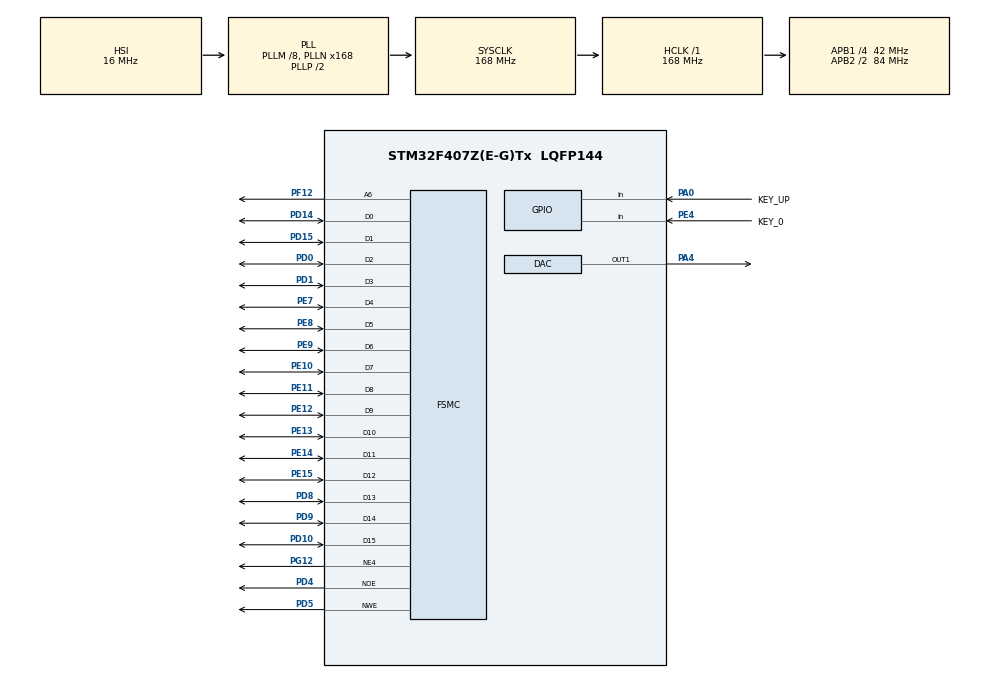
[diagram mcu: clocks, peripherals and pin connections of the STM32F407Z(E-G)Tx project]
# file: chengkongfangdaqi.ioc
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DAC.DAC_OutputBuffer=DAC_OUTPUTBUFFER_DISABLE
FSMC.AddressSetupTime1=9
FSMC.DataSetupTime1=9
Mcu.Family=STM32F4
Mcu.Name=STM32F407Z(E-G)Tx
Mcu.Package=LQFP144
NVIC.PriorityGroup=NVIC_PRIORITYGROUP_4
PA0-WKUP.GPIO_Label=KEY_UP
PA0-WKUP.GPIO_PuPd=GPIO_PULLDOWN
PA0-WKUP.Signal=GPIO_Input
PA13.Mode=Serial_Wire
PA13.Signal=SYS_JTMS-SWDIO
PA14.Mode=Serial_Wire
PA14.Signal=SYS_JTCK-SWCLK
PA4.Signal=COMP_DAC1_group
PD0.Signal=FSMC_D2_DA2
PD1.Signal=FSMC_D3_DA3
PD10.Signal=FSMC_D15_DA15
PD14.Signal=FSMC_D0_DA0
PD15.Signal=FSMC_D1_DA1
PD4.Signal=FSMC_NOE
PD5.Signal=FSMC_NWE
PD8.Signal=FSMC_D13_DA13
PD9.Signal=FSMC_D14_DA14
PE10.Signal=FSMC_D7_DA7
PE11.Signal=FSMC_D8_DA8
PE12.Signal=FSMC_D9_DA9
PE13.Signal=FSMC_D10_DA10
PE14.Signal=FSMC_D11_DA11
PE15.Signal=FSMC_D12_DA12
PE4.GPIO_Label=KEY_0
PE4.GPIO_PuPd=GPIO_PULLDOWN
PE4.Signal=GPIO_Input
PE7.Signal=FSMC_D4_DA4
PE8.Signal=FSMC_D5_DA5
PE9.Signal=FSMC_D6_DA6
PF12.Signal=FSMC_A6
PG12.Mode=NorPsramChipSelect4_1
PG12.Signal=FSMC_NE4
ProjectManager.HeapSize=0x200
ProjectManager.StackSize=0x400
ProjectManager.TargetToolchain=CMake
RCC.48MHZClocksFreq_Value=84000000
RCC.AHBFreq_Value=168000000
RCC.APB1CLKDivider=RCC_HCLK_DIV4
RCC.APB1Freq_Value=42000000
RCC.APB1TimFreq_Value=84000000
RCC.APB2CLKDivider=RCC_HCLK_DIV2
RCC.APB2Freq_Value=84000000
RCC.APB2TimFreq_Value=168000000
RCC.CortexFreq_Value=168000000
RCC.HCLKFreq_Value=168000000
RCC.HSE_VALUE=25000000
RCC.HSI_VALUE=16000000
RCC.LSE_VALUE=32768
RCC.PLLM=8
RCC.PLLN=168
RCC.SYSCLKFreq_VALUE=168000000
RCC.SYSCLKSource=RCC_SYSCLKSOURCE_PLLCLK
RCC.VCOOutputFreq_Value=336000000
SH.COMP_DAC1_group.0=DAC_OUT1,DAC_OUT1
SH.FSMC_A6.0=FSMC_A6,A6_1
SH.FSMC_D0_DA0.0=FSMC_D0,16b-d1
SH.FSMC_D10_DA10.0=FSMC_D10,16b-d1
SH.FSMC_D11_DA11.0=FSMC_D11,16b-d1
SH.FSMC_D12_DA12.0=FSMC_D12,16b-d1
SH.FSMC_D13_DA13.0=FSMC_D13,16b-d1
SH.FSMC_D14_DA14.0=FSMC_D14,16b-d1
SH.FSMC_D15_DA15.0=FSMC_D15,16b-d1
SH.FSMC_D1_DA1.0=FSMC_D1,16b-d1
SH.FSMC_D2_DA2.0=FSMC_D2,16b-d1
SH.FSMC_D3_DA3.0=FSMC_D3,16b-d1
SH.FSMC_D4_DA4.0=FSMC_D4,16b-d1
SH.FSMC_D5_DA5.0=FSMC_D5,16b-d1
SH.FSMC_D6_DA6.0=FSMC_D6,16b-d1
SH.FSMC_D7_DA7.0=FSMC_D7,16b-d1
SH.FSMC_D8_DA8.0=FSMC_D8,16b-d1
SH.FSMC_D9_DA9.0=FSMC_D9,16b-d1
SH.FSMC_NOE.0=FSMC_NOE,Lcd1
SH.FSMC_NWE.0=FSMC_NWE,Lcd1
board=custom

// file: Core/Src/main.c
/* USER CODE BEGIN Header */
/**
  ******************************************************************************
  * @file           : main.c
  * @brief          : Main program body
  ******************************************************************************
  * @attention
  *
  * Copyright (c) 2026 STMicroelectronics.
  * All rights reserved.
  *
  * This software is licensed under terms that can be found in the LICENSE file
  * in the root directory of this software component.
  * If no LICENSE file comes with this software, it is provided AS-IS.
  *
  ******************************************************************************
  */
/* USER CODE END Header */
#include "main.h"
#include "dac.h"
#include "gpio.h"
#include "fsmc.h"

/* USER CODE BEGIN Includes */
#include "ad9954.h"
#include "lcd.h"
#include "touch.h"

/* USER CODE END Includes */

/* USER CODE BEGIN PTD */
typedef enum
{
  EDIT_NONE = 0,
  EDIT_FREQUENCY,
  EDIT_AMPLITUDE
} EditField;

/* USER CODE END PTD */

/* USER CODE BEGIN PD */
#define DAC_VREF_MV             3300U
#define DAC_MAX_CODE            4095U

#define CONTROL_VOLTAGE_MIN_MV     0U
#define CONTROL_VOLTAGE_MAX_MV  3200U
#define CONTROL_VOLTAGE_STEP_MV   10U
#define CONTROL_VOLTAGE_INIT_MV  1000U

#define BUTTON_DEBOUNCE_MS       30U

#define DDS_FREQUENCY_MIN_HZ       1UL
#define DDS_FREQUENCY_MAX_HZ       10000000UL
#define DDS_FREQUENCY_INIT_HZ      1000UL
#define DDS_AMPLITUDE_MAX_MVPP     AD9954_FULL_SCALE_MVPP
#define DDS_AMPLITUDE_INIT_MVPP    100U

#define TOUCH_SCAN_PERIOD_MS       10U
#define TOUCH_RELEASE_DEBOUNCE_MS  40U
#define EDIT_BUFFER_CAPACITY       10U

#define KEYPAD_LEFT                8U
#define KEYPAD_TOP                 74U
#define KEYPAD_KEY_WIDTH           96U
#define KEYPAD_KEY_HEIGHT          34U
#define KEYPAD_COLUMN_PITCH        104U
#define KEYPAD_ROW_PITCH           39U

/* USER CODE END PD */

/* USER CODE BEGIN PV */
typedef struct
{
  GPIO_TypeDef *port;
  uint16_t pin;
  GPIO_PinState stable_state;
  GPIO_PinState last_sample;
  uint32_t sample_changed_tick;
} ButtonState;

static uint16_t control_voltage_mv = CONTROL_VOLTAGE_INIT_MV;
static uint32_t dds_frequency_hz = DDS_FREQUENCY_INIT_HZ;
static uint16_t dds_amplitude_mvpp = DDS_AMPLITUDE_INIT_MVPP;
static uint8_t dds_ready = 0U;
static uint8_t dds_enabled = 1U;
static uint8_t dds_apply_ok = 0U;

static TouchState touch_state = {0U, 0U, 0U, 0U, 0U};
static uint8_t touch_press_latched = 0U;
static uint32_t touch_last_scan_tick = 0U;
static uint32_t touch_release_start_tick = 0U;

static EditField edit_field = EDIT_NONE;
static char edit_buffer[EDIT_BUFFER_CAPACITY] = {0};
static uint8_t edit_length = 0U;
static uint8_t edit_invalid = 0U;

static ButtonState key_up =
{
  KEY_UP_GPIO_Port,
  KEY_UP_Pin,
  GPIO_PIN_RESET,
  GPIO_PIN_RESET,
  0U
};

static ButtonState key_down =
{
  KEY_0_GPIO_Port,
  KEY_0_Pin,
  GPIO_PIN_RESET,
  GPIO_PIN_RESET,
  0U
};

/* USER CODE END PV */

void SystemClock_Config(void);
/* USER CODE BEGIN PFP */
static uint8_t Button_WasPressed(ButtonState *button);
static void ControlVoltage_Set(uint16_t voltage_mv);
static void ControlVoltage_Adjust(int32_t delta_mv);
static void Dds_Apply(void);
static void Ui_Init(void);
static void Ui_DrawMain(void);
static void Ui_UpdateDacValue(void);
static void Ui_DrawButton(uint16_t left, uint16_t top,
                          uint16_t right, uint16_t bottom,
                          const char *label, uint16_t color);
static void Ui_BeginEdit(EditField field);
static void Ui_DrawKeypad(void);
static void Ui_DrawEditValue(void);
static void Ui_HandleTouch(uint16_t x, uint16_t y);
static void Ui_HandleKeypadTouch(uint16_t x, uint16_t y);
static void Ui_AppendKey(char key);
static uint32_t Ui_ParseEditValue(void);
static void Touch_Process(void);

/* USER CODE END PFP */

/* USER CODE BEGIN 0 */
static uint8_t Button_WasPressed(ButtonState *button)
{
  GPIO_PinState sample = HAL_GPIO_ReadPin(button->port, button->pin);
  uint32_t now = HAL_GetTick();

  if (sample != button->last_sample)
  {
    button->last_sample = sample;
    button->sample_changed_tick = now;
  }

  if ((sample != button->stable_state) &&
      ((now - button->sample_changed_tick) >= BUTTON_DEBOUNCE_MS))
  {
    button->stable_state = sample;
    if (sample == GPIO_PIN_SET)
    {
      return 1U;
    }
  }

  return 0U;
}

static void ControlVoltage_Set(uint16_t voltage_mv)
{
  uint32_t dac_code;

  if (voltage_mv < CONTROL_VOLTAGE_MIN_MV)
  {
    voltage_mv = CONTROL_VOLTAGE_MIN_MV;
  }
  else if (voltage_mv > CONTROL_VOLTAGE_MAX_MV)
  {
    voltage_mv = CONTROL_VOLTAGE_MAX_MV;
  }

  control_voltage_mv = voltage_mv;
  dac_code = ((uint32_t)voltage_mv * DAC_MAX_CODE + (DAC_VREF_MV / 2U)) /
             DAC_VREF_MV;

  if (HAL_DAC_SetValue(&hdac, DAC_CHANNEL_1, DAC_ALIGN_12B_R, dac_code) != HAL_OK)
  {
    Error_Handler();
  }
}

static void ControlVoltage_Adjust(int32_t delta_mv)
{
  int32_t new_voltage = (int32_t)control_voltage_mv + delta_mv;

  if (new_voltage < (int32_t)CONTROL_VOLTAGE_MIN_MV)
  {
    new_voltage = (int32_t)CONTROL_VOLTAGE_MIN_MV;
  }
  else if (new_voltage > (int32_t)CONTROL_VOLTAGE_MAX_MV)
  {
    new_voltage = (int32_t)CONTROL_VOLTAGE_MAX_MV;
  }

  if ((uint16_t)new_voltage != control_voltage_mv)
  {
    ControlVoltage_Set((uint16_t)new_voltage);
    if (edit_field == EDIT_NONE)
    {
      Ui_UpdateDacValue();
    }
  }
}

static void Dds_Apply(void)
{
  if (dds_ready == 0U)
  {
    dds_apply_ok = 0U;
    return;
  }

  if (dds_enabled != 0U)
  {
    dds_apply_ok = Ad9954_SetOutputMv(dds_frequency_hz,
                                      dds_amplitude_mvpp);
  }
  else
  {
    dds_apply_ok = Ad9954_SetOutputMv(dds_frequency_hz, 0U);
  }
}

static void Ui_DrawButton(uint16_t left, uint16_t top,
                          uint16_t right, uint16_t bottom,
                          const char *label, uint16_t color)
{
  uint16_t length = 0U;
  uint16_t text_width;
  uint16_t x;
  uint16_t y;

  while (label[length] != '\0')
  {
    ++length;
  }

  text_width = length * 8U;
  x = left + (((right - left + 1U) > text_width) ?
              ((right - left + 1U - text_width) / 2U) : 0U);
  y = top + (((bottom - top + 1U) > 16U) ?
             ((bottom - top + 1U - 16U) / 2U) : 0U);

  POINT_COLOR = color;
  LCD_DrawRectangle(left, top, right, bottom);
  LCD_ShowString(x, y, text_width + 2U, 16, 16, (uint8_t *)label);
}

static void Ui_Init(void)
{
  LCD_Init();
  LCD_Display_Dir(1);
  BACK_COLOR = WHITE;
  Touch_Init();

  dds_ready = Ad9954_Init();
  Dds_Apply();
  Ui_DrawMain();
}

static void Ui_DrawMain(void)
{
  LCD_Clear(WHITE);
  BACK_COLOR = WHITE;

  POINT_COLOR = RED;
  LCD_ShowString(58, 5, 210, 24, 24, (uint8_t *)"DAC + DDS CONTROL");

  POINT_COLOR = BLACK;
  LCD_ShowString(8, 47, 48, 16, 16, (uint8_t *)"DAC:");
  LCD_DrawRectangle(62, 38, 170, 71);
  Ui_DrawButton(190, 38, 242, 71, "-", BLUE);
  Ui_DrawButton(252, 38, 304, 71, "+", BLUE);

  POINT_COLOR = BLACK;
  LCD_ShowString(8, 87, 48, 16, 16, (uint8_t *)"FREQ:");
  POINT_COLOR = BLUE;
  LCD_DrawRectangle(62, 79, 310, 109);
  POINT_COLOR = BLACK;
  LCD_ShowNum(74, 87, dds_frequency_hz, 8, 16);
  LCD_ShowString(143, 87, 24, 16, 16, (uint8_t *)"Hz");
  POINT_COLOR = GRAY;
  LCD_ShowString(221, 87, 72, 16, 16, (uint8_t *)"TAP SET");

  POINT_COLOR = BLACK;
  LCD_ShowString(8, 125, 48, 16, 16, (uint8_t *)"AMP:");
  POINT_COLOR = BLUE;
  LCD_DrawRectangle(62, 117, 310, 147);
  POINT_COLOR = BLACK;
  LCD_ShowNum(74, 125, dds_amplitude_mvpp, 3, 16);
  LCD_ShowString(105, 125, 48, 16, 16, (uint8_t *)"mVpp");
  POINT_COLOR = GRAY;
  LCD_ShowString(221, 125, 72, 16, 16, (uint8_t *)"TAP SET");

  if (dds_ready == 0U)
  {
    POINT_COLOR = RED;
    LCD_ShowString(105, 156, 112, 16, 16, (uint8_t *)"DDS INIT ERROR");
  }
  else if (dds_apply_ok == 0U)
  {
    POINT_COLOR = RED;
    LCD_ShowString(101, 156, 120, 16, 16, (uint8_t *)"DDS APPLY ERROR");
  }
  else
  {
    POINT_COLOR = GREEN;
    LCD_ShowString(120, 156, 80, 16, 16, (uint8_t *)"DDS READY");
  }

  Ui_DrawButton(75, 178, 245, 212,
                (dds_enabled != 0U) ? "DDS OUTPUT ON" : "DDS OUTPUT OFF",
                (dds_enabled != 0U) ? GREEN : RED);

  POINT_COLOR = BLUE;
  LCD_ShowString(78, 220, 180, 12, 12,
                 (uint8_t *)"F:1-10MHz A:0-500mVpp");

  Ui_UpdateDacValue();
}

static void Ui_UpdateDacValue(void)
{
  uint32_t integer_part = control_voltage_mv / 1000U;
  uint32_t decimal_part = (control_voltage_mv % 1000U) / 10U;

  LCD_Fill(64, 40, 168, 69, WHITE);
  POINT_COLOR = GREEN;
  LCD_ShowNum(75, 44, integer_part, 1, 24);
  LCD_ShowString(87, 44, 14, 24, 24, (uint8_t *)".");
  LCD_ShowxNum(99, 44, decimal_part, 2, 24, 0x80U);
  LCD_ShowString(127, 44, 18, 24, 24, (uint8_t *)"V");
}

static void Ui_BeginEdit(EditField field)
{
  edit_field = field;
  edit_length = 0U;
  edit_buffer[0] = '\0';
  edit_invalid = 0U;
  Ui_DrawKeypad();
}

static void Ui_DrawEditValue(void)
{
  LCD_Fill(10, 43, 268, 67, WHITE);
  POINT_COLOR = BLACK;

  if (edit_length != 0U)
  {
    LCD_ShowString(18, 48, 120, 16, 16, (uint8_t *)edit_buffer);
  }
  else if (edit_field == EDIT_FREQUENCY)
  {
    LCD_ShowNum(18, 48, dds_frequency_hz, 8, 16);
  }
  else
  {
    LCD_ShowNum(18, 48, dds_amplitude_mvpp, 3, 16);
  }

  if (edit_invalid != 0U)
  {
    POINT_COLOR = RED;
    LCD_ShowString(180, 48, 64, 16, 16, (uint8_t *)"INVALID");
  }
}

static void Ui_DrawKeypad(void)
{
  static const char keys[4][3] = {
    {'1', '2', '3'},
    {'4', '5', '6'},
    {'7', '8', '9'},
    {'<', '0', 'O'}
  };

  LCD_Clear(WHITE);
  BACK_COLOR = WHITE;
  POINT_COLOR = RED;
  LCD_ShowString(8, 7, 190, 24, 24,
                 (uint8_t *)((edit_field == EDIT_FREQUENCY) ?
                             "SET FREQUENCY" : "SET AMPLITUDE"));

  POINT_COLOR = GRAY;
  LCD_ShowString(202, 12, 78, 12, 12,
                 (uint8_t *)((edit_field == EDIT_FREQUENCY) ?
                             "1-10000000Hz" : "0-500mVpp"));

  POINT_COLOR = BLUE;
  LCD_DrawRectangle(8, 41, 270, 69);
  Ui_DrawButton(280, 38, 315, 70, "X", RED);

  for (uint8_t row = 0U; row < 4U; ++row)
  {
    for (uint8_t col = 0U; col < 3U; ++col)
    {
      uint16_t left = KEYPAD_LEFT + (uint16_t)col * KEYPAD_COLUMN_PITCH;
      uint16_t top = KEYPAD_TOP + (uint16_t)row * KEYPAD_ROW_PITCH;
      char label[3] = {keys[row][col], '\0', '\0'};

      if (keys[row][col] == 'O')
      {
        label[0] = 'O';
        label[1] = 'K';
      }

      Ui_DrawButton(left, top,
                    left + KEYPAD_KEY_WIDTH - 1U,
                    top + KEYPAD_KEY_HEIGHT - 1U,
                    label, BLUE);
    }
  }

  Ui_DrawEditValue();
}

static void Ui_AppendKey(char key)
{
  if (key == '<')
  {
    if (edit_length > 0U)
    {
      --edit_length;
      edit_buffer[edit_length] = '\0';
    }
  }
  else if ((key >= '0') && (key <= '9') &&
           (edit_length < (EDIT_BUFFER_CAPACITY - 1U)))
  {
    edit_buffer[edit_length] = key;
    ++edit_length;
    edit_buffer[edit_length] = '\0';
  }

  edit_invalid = 0U;
}

static uint32_t Ui_ParseEditValue(void)
{
  uint32_t value = 0U;

  for (uint8_t i = 0U; i < edit_length; ++i)
  {
    value = value * 10U + (uint32_t)(edit_buffer[i] - '0');
  }

  return value;
}

static void Ui_HandleKeypadTouch(uint16_t x, uint16_t y)
{
  static const char keys[4][3] = {
    {'1', '2', '3'},
    {'4', '5', '6'},
    {'7', '8', '9'},
    {'<', '0', 'O'}
  };

  if ((x >= 280U) && (x <= 319U) && (y >= 34U) && (y <= 72U))
  {
    edit_field = EDIT_NONE;
    Ui_DrawMain();
    return;
  }

  for (uint8_t row = 0U; row < 4U; ++row)
  {
    for (uint8_t col = 0U; col < 3U; ++col)
    {
      uint16_t left = KEYPAD_LEFT + (uint16_t)col * KEYPAD_COLUMN_PITCH;
      uint16_t top = KEYPAD_TOP + (uint16_t)row * KEYPAD_ROW_PITCH;

      if ((x >= left) && (x < (left + KEYPAD_KEY_WIDTH)) &&
          (y >= top) && (y < (top + KEYPAD_KEY_HEIGHT)))
      {
        char key = keys[row][col];

        if (key == 'O')
        {
          uint32_t value = (edit_length != 0U) ? Ui_ParseEditValue() :
                           ((edit_field == EDIT_FREQUENCY) ?
                            dds_frequency_hz : dds_amplitude_mvpp);
          uint8_t valid = 0U;

          if (edit_field == EDIT_FREQUENCY)
          {
            if ((value >= DDS_FREQUENCY_MIN_HZ) &&
                (value <= DDS_FREQUENCY_MAX_HZ))
            {
              dds_frequency_hz = value;
              valid = 1U;
            }
          }
          else if (value <= DDS_AMPLITUDE_MAX_MVPP)
          {
            dds_amplitude_mvpp = (uint16_t)value;
            valid = 1U;
          }

          if (valid != 0U)
          {
            Dds_Apply();
            edit_field = EDIT_NONE;
            Ui_DrawMain();
          }
          else
          {
            edit_invalid = 1U;
            Ui_DrawEditValue();
          }
        }
        else
        {
          Ui_AppendKey(key);
          Ui_DrawEditValue();
        }
        return;
      }
    }
  }
}

static void Ui_HandleTouch(uint16_t x, uint16_t y)
{
  if (edit_field != EDIT_NONE)
  {
    Ui_HandleKeypadTouch(x, y);
    return;
  }

  if ((x >= 190U) && (x <= 242U) && (y >= 38U) && (y <= 71U))
  {
    ControlVoltage_Adjust(-(int32_t)CONTROL_VOLTAGE_STEP_MV);
  }
  else if ((x >= 252U) && (x <= 304U) &&
           (y >= 38U) && (y <= 71U))
  {
    ControlVoltage_Adjust((int32_t)CONTROL_VOLTAGE_STEP_MV);
  }
  else if ((x >= 62U) && (x <= 310U) &&
           (y >= 79U) && (y <= 109U))
  {
    Ui_BeginEdit(EDIT_FREQUENCY);
  }
  else if ((x >= 62U) && (x <= 310U) &&
           (y >= 117U) && (y <= 147U))
  {
    Ui_BeginEdit(EDIT_AMPLITUDE);
  }
  else if ((x >= 75U) && (x <= 245U) &&
           (y >= 178U) && (y <= 212U))
  {
    dds_enabled = (dds_enabled == 0U) ? 1U : 0U;
    Dds_Apply();
    Ui_DrawMain();
  }
}

static void Touch_Process(void)
{
  uint32_t now = HAL_GetTick();

  if ((now - touch_last_scan_tick) < TOUCH_SCAN_PERIOD_MS)
  {
    return;
  }
  touch_last_scan_tick = now;

  if (Touch_IsPressed() == 0U)
  {
    touch_state.pressed = 0U;

    if (touch_press_latched != 0U)
    {
      if (touch_release_start_tick == 0U)
      {
        touch_release_start_tick = now;
      }
      else if ((now - touch_release_start_tick) >= TOUCH_RELEASE_DEBOUNCE_MS)
      {
        touch_press_latched = 0U;
        touch_release_start_tick = 0U;
      }
    }
    else
    {
      touch_release_start_tick = 0U;
    }
    return;
  }

  touch_release_start_tick = 0U;
  if (touch_press_latched != 0U)
  {
    return;
  }

  if ((Touch_Scan(&touch_state) != 0U) &&
      (touch_state.pressed != 0U))
  {
    touch_press_latched = 1U;
    Ui_HandleTouch(touch_state.x, touch_state.y);
  }
}

/* USER CODE END 0 */

int main(void)
{

  /* MCU Configuration--------------------------------------------------------*/

  /* Reset of all peripherals, Initializes the Flash interface and the Systick. */
  HAL_Init();

  /* Configure the system clock */
  SystemClock_Config();

  /* Initialize all configured peripherals */
  MX_GPIO_Init();
  MX_DAC_Init();
  MX_FSMC_Init();
  /* USER CODE BEGIN 2 */
  if (HAL_DAC_Start(&hdac, DAC_CHANNEL_1) != HAL_OK)
  {
    Error_Handler();
  }

  ControlVoltage_Set(CONTROL_VOLTAGE_INIT_MV);
  Ui_Init();

  /* USER CODE END 2 */

  /* Infinite loop */
  while (1)
  {

    /* USER CODE BEGIN 3 */
    if (Button_WasPressed(&key_up))
    {
      ControlVoltage_Adjust((int32_t)CONTROL_VOLTAGE_STEP_MV);
    }

    if (Button_WasPressed(&key_down))
    {
      ControlVoltage_Adjust(-(int32_t)CONTROL_VOLTAGE_STEP_MV);
    }

    Touch_Process();
  }
  /* USER CODE END 3 */
}

void SystemClock_Config(void)
{
  RCC_OscInitTypeDef RCC_OscInitStruct = {0};
  RCC_ClkInitTypeDef RCC_ClkInitStruct = {0};

  /** Configure the main internal regulator output voltage
  */
  __HAL_RCC_PWR_CLK_ENABLE();
  __HAL_PWR_VOLTAGESCALING_CONFIG(PWR_REGULATOR_VOLTAGE_SCALE1);

  /** Initializes the RCC Oscillators according to the specified parameters
  * in the RCC_OscInitTypeDef structure.
  */
  RCC_OscInitStruct.OscillatorType = RCC_OSCILLATORTYPE_HSI;
  RCC_OscInitStruct.HSIState = RCC_HSI_ON;
  RCC_OscInitStruct.HSICalibrationValue = RCC_HSICALIBRATION_DEFAULT;
  RCC_OscInitStruct.PLL.PLLState = RCC_PLL_ON;
  RCC_OscInitStruct.PLL.PLLSource = RCC_PLLSOURCE_HSI;
  RCC_OscInitStruct.PLL.PLLM = 8;
  RCC_OscInitStruct.PLL.PLLN = 168;
  RCC_OscInitStruct.PLL.PLLP = RCC_PLLP_DIV2;
  RCC_OscInitStruct.PLL.PLLQ = 4;
  if (HAL_RCC_OscConfig(&RCC_OscInitStruct) != HAL_OK)
  {
    Error_Handler();
  }

  /** Initializes the CPU, AHB and APB buses clocks
  */
  RCC_ClkInitStruct.ClockType = RCC_CLOCKTYPE_HCLK|RCC_CLOCKTYPE_SYSCLK
                              |RCC_CLOCKTYPE_PCLK1|RCC_CLOCKTYPE_PCLK2;
  RCC_ClkInitStruct.SYSCLKSource = RCC_SYSCLKSOURCE_PLLCLK;
  RCC_ClkInitStruct.AHBCLKDivider = RCC_SYSCLK_DIV1;
  RCC_ClkInitStruct.APB1CLKDivider = RCC_HCLK_DIV4;
  RCC_ClkInitStruct.APB2CLKDivider = RCC_HCLK_DIV2;

  if (HAL_RCC_ClockConfig(&RCC_ClkInitStruct, FLASH_LATENCY_5) != HAL_OK)
  {
    Error_Handler();
  }
}

void Error_Handler(void)
{
  __disable_irq();
  while (1)
  {
  }
}
